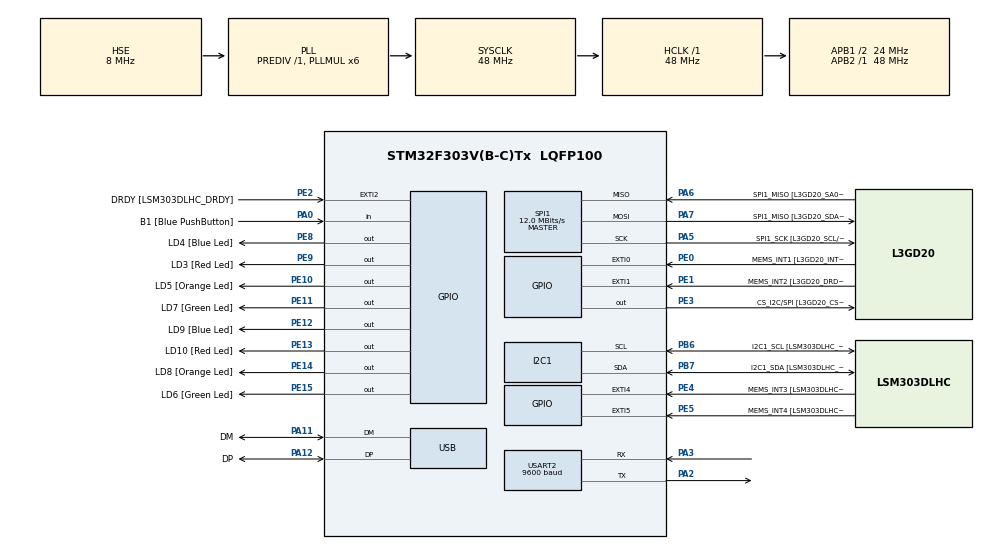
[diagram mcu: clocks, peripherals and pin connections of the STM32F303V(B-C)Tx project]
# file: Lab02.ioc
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I2C1.Timing=0x2000090E
I2C1.Timing-I2C=0x2000090E
Mcu.Family=STM32F3
Mcu.Name=STM32F303V(B-C)Tx
Mcu.Package=LQFP100
NVIC.PriorityGroup=NVIC_PRIORITYGROUP_0
PA0.GPIO_Label=B1 [Blue PushButton]
PA0.Signal=GPIO_Input
PA11.GPIO_Label=DM
PA11.Mode=Device
PA11.Signal=USB_DM
PA12.GPIO_Label=DP
PA12.Mode=Device
PA12.Signal=USB_DP
PA13.GPIO_Label=SWDIO
PA13.Mode=Serial_Wire
PA13.Signal=SYS_JTMS-SWDIO
PA14.GPIO_Label=SWCLK
PA14.Mode=Serial_Wire
PA14.Signal=SYS_JTCK-SWCLK
PA2.Mode=Asynchronous
PA2.Signal=USART2_TX
PA3.Mode=Asynchronous
PA3.Signal=USART2_RX
PA5.GPIO_Label=SPI1_SCK [L3GD20_SCL/SPC]
PA5.Mode=Full_Duplex_Master
PA5.Signal=SPI1_SCK
PA6.GPIO_Label=SPI1_MISO [L3GD20_SA0/SDO]
PA6.Mode=Full_Duplex_Master
PA6.Signal=SPI1_MISO
PA7.GPIO_Label=SPI1_MISO [L3GD20_SDA/SDI/SDO]
PA7.Mode=Full_Duplex_Master
PA7.Signal=SPI1_MOSI
PB3.GPIO_Label=SWO
PB3.Signal=SYS_JTDO-TRACESWO
PB6.GPIO_Label=I2C1_SCL [LSM303DLHC_SCL]
PB6.GPIO_Pu=GPIO_PULLUP
PB6.Mode=I2C
PB6.Signal=I2C1_SCL
PB7.GPIO_Label=I2C1_SDA [LSM303DLHC_SDA]
PB7.GPIO_Pu=GPIO_PULLUP
PB7.Mode=I2C
PB7.Signal=I2C1_SDA
PC14-OSC32_IN.GPIO_Label=OSC32_IN
PC14-OSC32_IN.Signal=RCC_OSC32_IN
PC15-OSC32_OUT.GPIO_Label=OSC32_OUT
PC15-OSC32_OUT.Signal=RCC_OSC32_OUT
PE0.GPIO_Label=MEMS_INT1 [L3GD20_INT1]
PE0.GPIO_ModeDefaultEXTI=GPIO_MODE_EVT_RISING
PE0.Signal=GPXTI0
PE1.GPIO_Label=MEMS_INT2 [L3GD20_DRDY/INT2]
PE1.GPIO_ModeDefaultEXTI=GPIO_MODE_EVT_RISING
PE1.Signal=GPXTI1
PE10.GPIO_Label=LD5 [Orange Led]
PE10.Signal=GPIO_Output
PE11.GPIO_Label=LD7 [Green Led]
PE11.Signal=GPIO_Output
PE12.GPIO_Label=LD9 [Blue Led]
PE12.Signal=GPIO_Output
PE13.GPIO_Label=LD10 [Red Led]
PE13.Signal=GPIO_Output
PE14.GPIO_Label=LD8 [Orange Led]
PE14.Signal=GPIO_Output
PE15.GPIO_Label=LD6 [Green Led]
PE15.Signal=GPIO_Output
PE2.GPIO_Label=DRDY [LSM303DLHC_DRDY]
PE2.GPIO_ModeDefaultEXTI=GPIO_MODE_EVT_RISING
PE2.Signal=GPXTI2
PE3.GPIO_Label=CS_I2C/SPI [L3GD20_CS_I2C/SPI]
PE3.Signal=GPIO_Output
PE4.GPIO_Label=MEMS_INT3 [LSM303DLHC_INT1]
PE4.GPIO_ModeDefaultEXTI=GPIO_MODE_EVT_RISING
PE4.Signal=GPXTI4
PE5.GPIO_Label=MEMS_INT4 [LSM303DLHC_INT2]
PE5.GPIO_ModeDefaultEXTI=GPIO_MODE_EVT_RISING
PE5.Signal=GPXTI5
PE8.GPIO_Label=LD4 [Blue Led]
PE8.Signal=GPIO_Output
PE9.GPIO_Label=LD3 [Red Led]
PE9.Signal=GPIO_Output
PF0-OSC_IN.GPIO_Label=OSC_IN
PF0-OSC_IN.Mode=HSE-External-Clock-Source
PF0-OSC_IN.Signal=RCC_OSC_IN
PF1-OSC_OUT.GPIO_Label=OSC_OUT
PF1-OSC_OUT.Signal=RCC_OSC_OUT
ProjectManager.HeapSize=0x200
ProjectManager.StackSize=0x400
ProjectManager.TargetToolchain=CMake
RCC.AHBFreq_Value=48000000
RCC.APB1CLKDivider=RCC_HCLK_DIV2
RCC.APB1Freq_Value=24000000
RCC.APB1TimFreq_Value=48000000
RCC.APB2Freq_Value=48000000
RCC.APB2TimFreq_Value=48000000
RCC.CortexFreq_Value=48000000
RCC.HCLKFreq_Value=48000000
RCC.HSE_VALUE=8000000
RCC.HSI_VALUE=8000000
RCC.LSE_VALUE=32768
RCC.PLLMUL=RCC_PLL_MUL6
RCC.SYSCLKFreq_VALUE=48000000
RCC.SYSCLKSourceVirtual=RCC_SYSCLKSOURCE_PLLCLK
RCC.USBFreq_Value=48000000
SPI1.BaudRatePrescaler=SPI_BAUDRATEPRESCALER_4
SPI1.BaudRatePrescaler-Full_Duplex_Master=SPI_BAUDRATEPRESCALER_2
SPI1.CalculateBaudRate=12.0 MBits/s
SPI1.CalculateBaudRate-Full_Duplex_Master=24.0 MBits/s
SPI1.Direction=SPI_DIRECTION_2LINES
SPI1.Mode=SPI_MODE_MASTER
SPI1.Mode-Full_Duplex_Master=SPI_MODE_MASTER
SPI1.VirtualType=VM_MASTER
USART2.BaudRate=9600
USART2.VirtualMode-Asynchronous=VM_ASYNC
board=STM32F3DISCOVERY

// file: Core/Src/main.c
/* USER CODE BEGIN Header */
/**
  ******************************************************************************
  * @file           : main.c
  * @brief          : Main program body
  ******************************************************************************
  * @attention
  *
  * Copyright (c) 2026 STMicroelectronics.
  * All rights reserved.
  *
  * This software is licensed under terms that can be found in the LICENSE file
  * in the root directory of this software component.
  * If no LICENSE file comes with this software, it is provided AS-IS.
  *
  ******************************************************************************
  */
/* USER CODE END Header */
#include "main.h"
# include "stdarg.h" // For variadic argument macros
# include "stdio.h"
#include "stm32f3xx_hal_uart.h"
# include "string.h"

I2C_HandleTypeDef hi2c1;

SPI_HandleTypeDef hspi1;

UART_HandleTypeDef huart2;

PCD_HandleTypeDef hpcd_USB_FS;

void SystemClock_Config(void);
static void MX_GPIO_Init(void);
static void MX_I2C1_Init(void);
static void MX_SPI1_Init(void);
static void MX_USART2_UART_Init(void);
static void MX_USB_PCD_Init(void);

/* USER CODE BEGIN 0 */
void myPrintf (const char *fmt , ...) {
      char buffer[100];
      va_list args;
      va_start(args, fmt);
      int len = vsnprintf(buffer, sizeof(buffer), fmt, args);
      va_end(args);
      HAL_UART_Transmit(&huart2, (uint8_t*)buffer,len, HAL_MAX_DELAY);
 }
/* USER CODE END 0 */

int main(void)
{

  /* MCU Configuration--------------------------------------------------------*/

  /* Reset of all peripherals, Initializes the Flash interface and the Systick. */
  HAL_Init();

  /* Configure the system clock */
  SystemClock_Config();

  /* Initialize all configured peripherals */
  MX_GPIO_Init();
  MX_I2C1_Init();
  MX_SPI1_Init();
  MX_USART2_UART_Init();
  MX_USB_PCD_Init();
  /* USER CODE BEGIN 2 */
  int a = 3;
  int b = 5;
  int LHS = (a + b) * (a + b);
  int RHS = a*a + b*b + 2*a*b;

  myPrintf("a = %d\r\n", a);
  myPrintf("b =  %d\r\n", b);
  myPrintf("LHS: %d\r\n", LHS);
  myPrintf("RHS:  %d\r\n", RHS);

  if (LHS == RHS) {
      myPrintf("Identity verified: YES\r\n");
  } else {
      myPrintf("Identity verified: NO\r\n");
  }
  /* USER CODE END 2 */
  /* Infinite loop */
  while (1)
  {
  }

}

void SystemClock_Config(void)
{
  RCC_OscInitTypeDef RCC_OscInitStruct = {0};
  RCC_ClkInitTypeDef RCC_ClkInitStruct = {0};
  RCC_PeriphCLKInitTypeDef PeriphClkInit = {0};

  /** Initializes the RCC Oscillators according to the specified parameters
  * in the RCC_OscInitTypeDef structure.
  */
  RCC_OscInitStruct.OscillatorType = RCC_OSCILLATORTYPE_HSI|RCC_OSCILLATORTYPE_HSE;
  RCC_OscInitStruct.HSEState = RCC_HSE_BYPASS;
  RCC_OscInitStruct.HSEPredivValue = RCC_HSE_PREDIV_DIV1;
  RCC_OscInitStruct.HSIState = RCC_HSI_ON;
  RCC_OscInitStruct.HSICalibrationValue = RCC_HSICALIBRATION_DEFAULT;
  RCC_OscInitStruct.PLL.PLLState = RCC_PLL_ON;
  RCC_OscInitStruct.PLL.PLLSource = RCC_PLLSOURCE_HSE;
  RCC_OscInitStruct.PLL.PLLMUL = RCC_PLL_MUL6;
  if (HAL_RCC_OscConfig(&RCC_OscInitStruct) != HAL_OK)
  {
    Error_Handler();
  }

  /** Initializes the CPU, AHB and APB buses clocks
  */
  RCC_ClkInitStruct.ClockType = RCC_CLOCKTYPE_HCLK|RCC_CLOCKTYPE_SYSCLK
                              |RCC_CLOCKTYPE_PCLK1|RCC_CLOCKTYPE_PCLK2;
  RCC_ClkInitStruct.SYSCLKSource = RCC_SYSCLKSOURCE_PLLCLK;
  RCC_ClkInitStruct.AHBCLKDivider = RCC_SYSCLK_DIV1;
  RCC_ClkInitStruct.APB1CLKDivider = RCC_HCLK_DIV2;
  RCC_ClkInitStruct.APB2CLKDivider = RCC_HCLK_DIV1;

  if (HAL_RCC_ClockConfig(&RCC_ClkInitStruct, FLASH_LATENCY_1) != HAL_OK)
  {
    Error_Handler();
  }
  PeriphClkInit.PeriphClockSelection = RCC_PERIPHCLK_USB|RCC_PERIPHCLK_USART2
                              |RCC_PERIPHCLK_I2C1;
  PeriphClkInit.Usart2ClockSelection = RCC_USART2CLKSOURCE_PCLK1;
  PeriphClkInit.I2c1ClockSelection = RCC_I2C1CLKSOURCE_HSI;
  PeriphClkInit.USBClockSelection = RCC_USBCLKSOURCE_PLL;
  if (HAL_RCCEx_PeriphCLKConfig(&PeriphClkInit) != HAL_OK)
  {
    Error_Handler();
  }
}

static void MX_I2C1_Init(void)
{

  hi2c1.Instance = I2C1;
  hi2c1.Init.Timing = 0x2000090E;
  hi2c1.Init.OwnAddress1 = 0;
  hi2c1.Init.AddressingMode = I2C_ADDRESSINGMODE_7BIT;
  hi2c1.Init.DualAddressMode = I2C_DUALADDRESS_DISABLE;
  hi2c1.Init.OwnAddress2 = 0;
  hi2c1.Init.OwnAddress2Masks = I2C_OA2_NOMASK;
  hi2c1.Init.GeneralCallMode = I2C_GENERALCALL_DISABLE;
  hi2c1.Init.NoStretchMode = I2C_NOSTRETCH_DISABLE;
  if (HAL_I2C_Init(&hi2c1) != HAL_OK)
  {
    Error_Handler();
  }

  /** Configure Analogue filter
  */
  if (HAL_I2CEx_ConfigAnalogFilter(&hi2c1, I2C_ANALOGFILTER_ENABLE) != HAL_OK)
  {
    Error_Handler();
  }

  /** Configure Digital filter
  */
  if (HAL_I2CEx_ConfigDigitalFilter(&hi2c1, 0) != HAL_OK)
  {
    Error_Handler();
  }

}

static void MX_SPI1_Init(void)
{

  /* SPI1 parameter configuration*/
  hspi1.Instance = SPI1;
  hspi1.Init.Mode = SPI_MODE_MASTER;
  hspi1.Init.Direction = SPI_DIRECTION_2LINES;
  hspi1.Init.DataSize = SPI_DATASIZE_4BIT;
  hspi1.Init.CLKPolarity = SPI_POLARITY_LOW;
  hspi1.Init.CLKPhase = SPI_PHASE_1EDGE;
  hspi1.Init.NSS = SPI_NSS_SOFT;
  hspi1.Init.BaudRatePrescaler = SPI_BAUDRATEPRESCALER_4;
  hspi1.Init.FirstBit = SPI_FIRSTBIT_MSB;
  hspi1.Init.TIMode = SPI_TIMODE_DISABLE;
  hspi1.Init.CRCCalculation = SPI_CRCCALCULATION_DISABLE;
  hspi1.Init.CRCPolynomial = 7;
  hspi1.Init.CRCLength = SPI_CRC_LENGTH_DATASIZE;
  hspi1.Init.NSSPMode = SPI_NSS_PULSE_ENABLE;
  if (HAL_SPI_Init(&hspi1) != HAL_OK)
  {
    Error_Handler();
  }

}

static void MX_USART2_UART_Init(void)
{

  huart2.Instance = USART2;
  huart2.Init.BaudRate = 9600;
  huart2.Init.WordLength = UART_WORDLENGTH_8B;
  huart2.Init.StopBits = UART_STOPBITS_1;
  huart2.Init.Parity = UART_PARITY_NONE;
  huart2.Init.Mode = UART_MODE_TX_RX;
  huart2.Init.HwFlowCtl = UART_HWCONTROL_NONE;
  huart2.Init.OverSampling = UART_OVERSAMPLING_16;
  huart2.Init.OneBitSampling = UART_ONE_BIT_SAMPLE_DISABLE;
  huart2.AdvancedInit.AdvFeatureInit = UART_ADVFEATURE_NO_INIT;
  if (HAL_UART_Init(&huart2) != HAL_OK)
  {
    Error_Handler();
  }

}

static void MX_USB_PCD_Init(void)
{

  hpcd_USB_FS.Instance = USB;
  hpcd_USB_FS.Init.dev_endpoints = 8;
  hpcd_USB_FS.Init.speed = PCD_SPEED_FULL;
  hpcd_USB_FS.Init.phy_itface = PCD_PHY_EMBEDDED;
  hpcd_USB_FS.Init.low_power_enable = DISABLE;
  hpcd_USB_FS.Init.battery_charging_enable = DISABLE;
  if (HAL_PCD_Init(&hpcd_USB_FS) != HAL_OK)
  {
    Error_Handler();
  }

}

static void MX_GPIO_Init(void)
{
  GPIO_InitTypeDef GPIO_InitStruct = {0};

  /* GPIO Ports Clock Enable */
  __HAL_RCC_GPIOE_CLK_ENABLE();
  __HAL_RCC_GPIOC_CLK_ENABLE();
  __HAL_RCC_GPIOF_CLK_ENABLE();
  __HAL_RCC_GPIOA_CLK_ENABLE();
  __HAL_RCC_GPIOB_CLK_ENABLE();

  /*Configure GPIO pin Output Level */
  HAL_GPIO_WritePin(GPIOE, CS_I2C_SPI_Pin|LD4_Pin|LD3_Pin|LD5_Pin
                          |LD7_Pin|LD9_Pin|LD10_Pin|LD8_Pin
                          |LD6_Pin, GPIO_PIN_RESET);

  /*Configure GPIO pins : DRDY_Pin MEMS_INT3_Pin MEMS_INT4_Pin MEMS_INT1_Pin
                           MEMS_INT2_Pin */
  GPIO_InitStruct.Pin = DRDY_Pin|MEMS_INT3_Pin|MEMS_INT4_Pin|MEMS_INT1_Pin
                          |MEMS_INT2_Pin;
  GPIO_InitStruct.Mode = GPIO_MODE_EVT_RISING;
  GPIO_InitStruct.Pull = GPIO_NOPULL;
  HAL_GPIO_Init(GPIOE, &GPIO_InitStruct);

  /*Configure GPIO pins : CS_I2C_SPI_Pin LD4_Pin LD3_Pin LD5_Pin
                           LD7_Pin LD9_Pin LD10_Pin LD8_Pin
                           LD6_Pin */
  GPIO_InitStruct.Pin = CS_I2C_SPI_Pin|LD4_Pin|LD3_Pin|LD5_Pin
                          |LD7_Pin|LD9_Pin|LD10_Pin|LD8_Pin
                          |LD6_Pin;
  GPIO_InitStruct.Mode = GPIO_MODE_OUTPUT_PP;
  GPIO_InitStruct.Pull = GPIO_NOPULL;
  GPIO_InitStruct.Speed = GPIO_SPEED_FREQ_LOW;
  HAL_GPIO_Init(GPIOE, &GPIO_InitStruct);

  /*Configure GPIO pin : B1_Pin */
  GPIO_InitStruct.Pin = B1_Pin;
  GPIO_InitStruct.Mode = GPIO_MODE_INPUT;
  GPIO_InitStruct.Pull = GPIO_NOPULL;
  HAL_GPIO_Init(B1_GPIO_Port, &GPIO_InitStruct);

}

void Error_Handler(void)
{
  __disable_irq();
  while (1)
  {
  }
}
